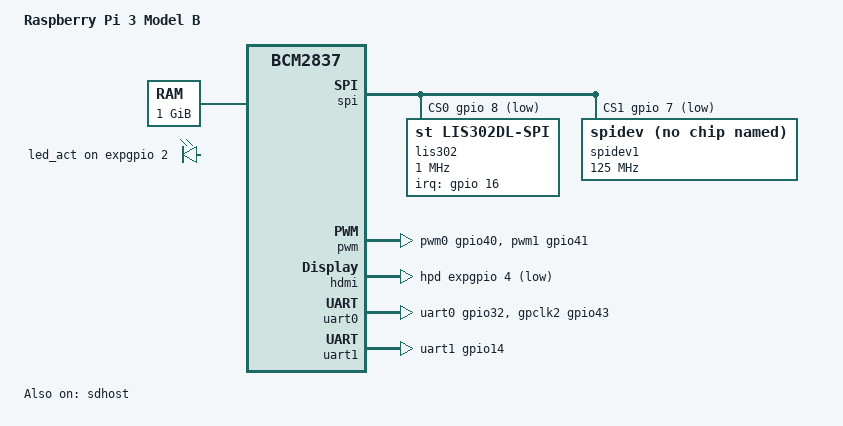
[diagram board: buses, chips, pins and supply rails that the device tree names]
// SPDX-License-Identifier: GPL-2.0
/dts-v1/;
#include "bcm2837.dtsi"
#include "bcm2836-rpi.dtsi"
#include "bcm283x-rpi-led-deprecated.dtsi"
#include "bcm283x-rpi-smsc9514.dtsi"
#include "bcm283x-rpi-usb-host.dtsi"
#include "bcm283x-rpi-wifi-bt.dtsi"

/ {
	compatible = "raspberrypi,3-model-b", "brcm,bcm2837";
	model = "Raspberry Pi 3 Model B";

	chosen {
		/* 8250 auxiliary UART instead of pl011 */
		stdout-path = "serial1:115200n8";
	};

	memory@0 {
		device_type = "memory";
		reg = <0 0x40000000>;
	};
};

&bt {
	shutdown-gpios = <&expgpio 0 GPIO_ACTIVE_HIGH>;
};

&firmware {
	expgpio: gpio {
		compatible = "raspberrypi,firmware-gpio";
		gpio-controller;
		#gpio-cells = <2>;
		gpio-line-names = "BT_ON",
				  "WL_ON",
				  "STATUS_LED",
				  "LAN_RUN",
				  "HDMI_HPD_N",
				  "CAM_GPIO0",
				  "CAM_GPIO1",
				  "PWR_LOW_N";
		status = "okay";
	};
};

&gpio {
	/*
	 * Taken from rpi_SCH_3b_1p2_reduced.pdf and
	 * the official GPU firmware DT blob.
	 *
	 * Legend:
	 * "FOO" = GPIO line named "FOO" on the schematic
	 * "FOO_N" = GPIO line named "FOO" on schematic, active low
	 */
	gpio-line-names = "ID_SDA",
			  "ID_SCL",
			  "SDA1",
			  "SCL1",
			  "GPIO_GCLK",
			  "GPIO5",
			  "GPIO6",
			  "SPI_CE1_N",
			  "SPI_CE0_N",
			  "SPI_MISO",
			  "SPI_MOSI",
			  "SPI_SCLK",
			  "GPIO12",
			  "GPIO13",
			  /* Serial port */
			  "TXD1",
			  "RXD1",
			  "GPIO16",
			  "GPIO17",
			  "GPIO18",
			  "GPIO19",
			  "GPIO20",
			  "GPIO21",
			  "GPIO22",
			  "GPIO23",
			  "GPIO24",
			  "GPIO25",
			  "GPIO26",
			  "GPIO27",
			  "", /* GPIO 28 */
			  "LAN_RUN_BOOT",
			  /* Used by BT module */
			  "CTS0",
			  "RTS0",
			  "TXD0",
			  "RXD0",
			  /* Used by Wifi */
			  "SD1_CLK",
			  "SD1_CMD",
			  "SD1_DATA0",
			  "SD1_DATA1",
			  "SD1_DATA2",
			  "SD1_DATA3",
			  "PWM0_OUT",
			  "PWM1_OUT",
			  "ETH_CLK",
			  "WIFI_CLK",
			  "SDA0",
			  "SCL0",
			  "SMPS_SCL",
			  "SMPS_SDA",
			  /* Used by SD Card */
			  "SD_CLK_R",
			  "SD_CMD_R",
			  "SD_DATA0_R",
			  "SD_DATA1_R",
			  "SD_DATA2_R",
			  "SD_DATA3_R";

/* [seolryeong : start] DT support pins */
	spi0_pins: spi0_pins {
		brcm,pins = <9 10 11>;
		brcm,function = <4>;
	};
	spi0_cs_pins: spi0_cs_pins {
		brcm,pins = <8 7>;
		brcm,function = <1>;
	};
        i2c0_pins: i2c0 {
                brcm,pins = <0 1>;
                brcm,function = <4>;
        };

        i2c1_pins: i2c1 {
                brcm,pins = <2 3>;
                brcm,function = <4>;
        };

        i2s_pins: i2s {
                brcm,pins = <18 19 20 21>;
                brcm,function = <4>;
        };

        sdio_pins: sdio_pins {
                brcm,pins =     <34 35 36 37 38 39>;
                brcm,function = <7>;
                brcm,pull =     <0 2 2 2 2 2>;
        };

        bt_pins: bt_pins {
                brcm,pins = <43>;
                brcm,function = <4>;
                brcm,pull = <0>;
        };

        uart0_pins: uart0_pins {
                brcm,pins = <32 33>;
                brcm,function = <7>;
                brcm,pull = <0 2>;
        };

        uart1_pins: uart1_pins {
                brcm,pins;
                brcm,function;
                brcm,pull;
        };

        uart1_bt_pins: uart1_bt_pins {
                brcm,pins = <32 33>;
                brcm,function = <BCM2835_FSEL_ALT5>;
                brcm,pull = <0 2>;
        };
        audio_pins: audio_pins {
                brcm,pins = <40 41>;
                brcm,function = <4>;
                brcm,pull = <0>;
        };

/* [seolryeong : end] */

};

// [seolryeong : start] DT support accelerometer

&spi {
	pinctrl-names = "default";
	pinctrl-0 = <&spi0_pins &spi0_cs_pins>;
	cs-gpios = <&gpio 8 1>, <&gpio 7 1>;
        
	lis302@0 {
                compatible = "st,lis302dl-spi";
                reg = <0>;
                spi-max-frequency = <1000000>;
                interrupt-parent = <&gpio>;
                //interrupts = <104 0>;
                interrupts = <16 1>;
		
		// [seolryenog] click interrupt
                st,irq1-click;
                st,click-single-x;
                st,click-single-y;
                st,click-single-z;
                st,click-thresh-x = <2>;
                st,click-thresh-y = <2>;
                st,click-thresh-z = <2>;

                st,wakeup-x-lo;
                st,wakeup-x-hi;
                st,wakeup-y-lo;
                st,wakeup-y-hi;
                st,wakeup-z-lo;
                st,wakeup-z-hi;
        };

        spidev1: spidev@1{
                compatible = "spidev";
                reg = <1>;
                #address-cells = <1>;
                #size-cells = <0>;
                spi-max-frequency = <125000000>;
        };

};

// [seolryeong : end]

&pwm {
	pinctrl-names = "default";
	pinctrl-0 = <&pwm0_gpio40 &pwm1_gpio41>;
	status = "okay";
};

&hdmi {
	hpd-gpios = <&expgpio 4 GPIO_ACTIVE_LOW>;
	power-domains = <&power RPI_POWER_DOMAIN_HDMI>;
	status = "okay";
};

&led_act {
	gpios = <&expgpio 2 GPIO_ACTIVE_HIGH>;
};

/* uart0 communicates with the BT module */
&uart0 {
	pinctrl-names = "default";
	pinctrl-0 = <&uart0_gpio32 &gpclk2_gpio43>;
};

/* uart1 is mapped to the pin header */
&uart1 {
	pinctrl-names = "default";
	pinctrl-0 = <&uart1_gpio14>;
	status = "okay";
};

/* SDHOST is used to drive the SD card */
&sdhost {
	pinctrl-names = "default";
	pinctrl-0 = <&sdhost_gpio48>;
	status = "okay";
	bus-width = <4>;
};

&wifi_pwrseq {
	reset-gpios = <&expgpio 1 GPIO_ACTIVE_LOW>;
};
